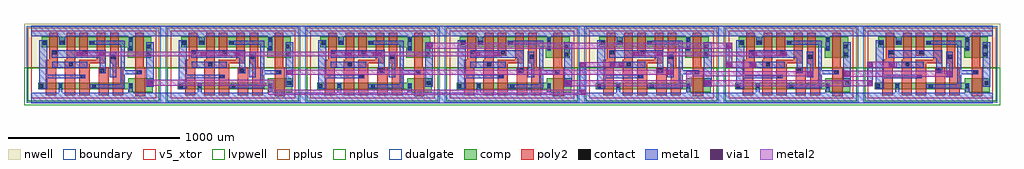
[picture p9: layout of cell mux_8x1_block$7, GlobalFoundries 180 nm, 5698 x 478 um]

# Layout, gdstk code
import gdstk
lib = gdstk.Library(unit=1e-6, precision=1e-07)
def R(c, l, rs):  # rectangles x0, y0, x1, y1
    for r in rs: c.add(gdstk.rectangle(r[:2], r[2:], *l))
def P(c, l, *ps):  # polygons
    for p in ps: c.add(gdstk.Polygon(p, *l))
boundary = (0, 0)
nwell = (21, 0)
comp = (22, 0)
poly2 = (30, 0)
pplus = (31, 0)
nplus = (32, 0)
contact = (33, 0)
metal1 = (34, 0)
via1 = (35, 0)
metal2 = (36, 0)
dualgate = (55, 0)
v5_xtor = (112, 1)
lvpwell = (204, 0)

mux_2bit_block_13 = lib.new_cell('mux_2bit_block$13')
R(mux_2bit_block_13, boundary, [(0,0,728,392)])
R(mux_2bit_block_13, nwell, [(-43,176,771,435)])
P(mux_2bit_block_13, comp, [(562,236),(562,296.5),(60,296.5),(60,358),(700,358),(700,236)],
  [(566,34),(566,52),(40,52),(40,88),(566,88),(566,116),(710,116),(710,34)])
R(mux_2bit_block_13, poly2, [(392,17.5,452,179.5), (280,247.5,330,380)])
P(mux_2bit_block_13, poly2, [(606,12),(606,380),(656,380),(656,179.5),(666,179.5),(666,12)],
  [(476,17.5),(476,203.5),(459.5,203.5),(459.5,380),(509.5,380),(509.5,179.5),(536,179.5),(536,17.5)],
  [(280,17.5),(280,223.5),(382,223.5),(382,380),(432,380),(432,203.5),(340,203.5),(340,17.5)],
  [(196,17.5),(196,223.5),(206,223.5),(206,380),(256,380),(256,17.5)],
  [(84,17.5),(84,223.5),(104,223.5),(104,380),(154,380),(154,179.5),(144,179.5),(144,17.5)])
R(mux_2bit_block_13, pplus, [(-20,176,748,412)])
R(mux_2bit_block_13, nplus, [(-20,-20,748,176)])
R(mux_2bit_block_13, contact, [(569,58.5,591,80.5), (47,59,69,81), (159,59,181,81), (355,59,377,81), (681,76.5,703,98.5), (287,115,309,137), (616,140,638,162), (404,150.5,426,172.5), (220,185,242,207), (466.5,230.5,488.5,252.5), (671,243,693,265), (125,254.5,147,276.5), (301,254.5,323,276.5), (569,282,591,304), (671,290,693,312), (67,311.5,89,333.5), (169,311.5,191,333.5), (345,311.5,367,333.5), (569,329,591,351)])
R(mux_2bit_block_13, metal1, [(670.5,65,715,327), (457,121,495,271), (121,177,327,212)])
P(mux_2bit_block_13, metal1, [(340,57.5),(340,81.5),(522.5,81.5),(522.5,311),(339,311),(339,334),(545.5,334),(545.5,162.5),(644,162.5),(644,139),(545.5,139),(545.5,57.5)],
  [(398.5,144.5),(398.5,236),(119,236),(119,278.5),(434,278.5),(434,144.5)],
  [(46.5,53),(46.5,338),(93,338),(93,137.5),(315.5,137.5),(315.5,114.5),(93,114.5),(93,53)],
  [(0,-30),(0,30),(158.5,30),(158.5,88),(181.5,88),(181.5,30),(568.5,30),(568.5,86.5),(591.5,86.5),(591.5,30),(728,30),(728,-30)],
  [(568.5,276),(568.5,362),(197,362),(197,310.5),(163,310.5),(163,362),(0,362),(0,422),(728,422),(728,362),(591.5,362),(591.5,276)])
R(mux_2bit_block_13, dualgate, [(-28,-28,756,420)])
R(mux_2bit_block_13, v5_xtor, [(0,0,728,392)])
R(mux_2bit_block_13, lvpwell, [(-43,-43,771,176)])
mux_2bit_block_13.add(gdstk.Label('IN1_MUX_NULL', (476,196), layer=34, texttype=10))
mux_2bit_block_13.add(gdstk.Label('IN0_MUX_INV7', (252,196), layer=34, texttype=10))
mux_2bit_block_13.add(gdstk.Label('SEL0', (308,252), layer=34, texttype=10))
mux_2bit_block_13.add(gdstk.Label('VDD', (364,392), layer=34, texttype=10))
mux_2bit_block_13.add(gdstk.Label('VSS', (364,0), layer=34, texttype=10))
mux_2bit_block_13.add(gdstk.Label('OUT_MUX_0', (700,196), layer=34, texttype=10))
mux_2bit_block_13.add(gdstk.Label('& Vendor GLOBALFOUNDRIES', (728,200), layer=63, texttype=63))
mux_2bit_block_13.add(gdstk.Label('& Product GF018hv5v_mcu_sc7', (728,150), layer=63, texttype=63))
mux_2bit_block_13.add(gdstk.Label('& Version 2015q2v1', (728,100), layer=63, texttype=63))
mux_2bit_block_13.add(gdstk.Label('& Metric 1.00', (728,50), layer=63, texttype=63))

mux_2bit_block_1_7 = lib.new_cell('mux_2bit_block$1$7')
R(mux_2bit_block_1_7, boundary, [(0,0,728,392)])
R(mux_2bit_block_1_7, nwell, [(-43,176,771,435)])
P(mux_2bit_block_1_7, comp, [(562,236),(562,296.5),(60,296.5),(60,358),(700,358),(700,236)],
  [(566,34),(566,52),(40,52),(40,88),(566,88),(566,116),(710,116),(710,34)])
R(mux_2bit_block_1_7, poly2, [(392,17.5,452,179.5), (280,247.5,330,380)])
P(mux_2bit_block_1_7, poly2, [(606,12),(606,380),(656,380),(656,179.5),(666,179.5),(666,12)],
  [(476,17.5),(476,203.5),(459.5,203.5),(459.5,380),(509.5,380),(509.5,179.5),(536,179.5),(536,17.5)],
  [(280,17.5),(280,223.5),(382,223.5),(382,380),(432,380),(432,203.5),(340,203.5),(340,17.5)],
  [(196,17.5),(196,223.5),(206,223.5),(206,380),(256,380),(256,17.5)],
  [(84,17.5),(84,223.5),(104,223.5),(104,380),(154,380),(154,179.5),(144,179.5),(144,17.5)])
R(mux_2bit_block_1_7, pplus, [(-20,176,748,412)])
R(mux_2bit_block_1_7, nplus, [(-20,-20,748,176)])
R(mux_2bit_block_1_7, contact, [(569,58.5,591,80.5), (47,59,69,81), (159,59,181,81), (355,59,377,81), (681,76.5,703,98.5), (287,115,309,137), (616,140,638,162), (404,150.5,426,172.5), (220,185,242,207), (466.5,230.5,488.5,252.5), (671,243,693,265), (125,254.5,147,276.5), (301,254.5,323,276.5), (569,282,591,304), (671,290,693,312), (67,311.5,89,333.5), (169,311.5,191,333.5), (345,311.5,367,333.5), (569,329,591,351)])
R(mux_2bit_block_1_7, metal1, [(670.5,65,715,327), (457,121,495,271), (121,177,327,212)])
P(mux_2bit_block_1_7, metal1, [(340,57.5),(340,81.5),(522.5,81.5),(522.5,311),(339,311),(339,334),(545.5,334),(545.5,162.5),(644,162.5),(644,139),(545.5,139),(545.5,57.5)],
  [(398.5,144.5),(398.5,236),(119,236),(119,278.5),(434,278.5),(434,144.5)],
  [(46.5,53),(46.5,338),(93,338),(93,137.5),(315.5,137.5),(315.5,114.5),(93,114.5),(93,53)],
  [(0,-30),(0,30),(158.5,30),(158.5,88),(181.5,88),(181.5,30),(568.5,30),(568.5,86.5),(591.5,86.5),(591.5,30),(728,30),(728,-30)],
  [(568.5,276),(568.5,362),(197,362),(197,310.5),(163,310.5),(163,362),(0,362),(0,422),(728,422),(728,362),(591.5,362),(591.5,276)])
R(mux_2bit_block_1_7, dualgate, [(-28,-28,756,420)])
R(mux_2bit_block_1_7, v5_xtor, [(0,0,728,392)])
R(mux_2bit_block_1_7, lvpwell, [(-43,-43,771,176)])
mux_2bit_block_1_7.add(gdstk.Label('IN3_MUX_NULL', (476,196), layer=34, texttype=10))
mux_2bit_block_1_7.add(gdstk.Label('IN2_MUX_OR7', (252,196), layer=34, texttype=10))
mux_2bit_block_1_7.add(gdstk.Label('SEL0', (308,252), layer=34, texttype=10))
mux_2bit_block_1_7.add(gdstk.Label('VDD', (364,392), layer=34, texttype=10))
mux_2bit_block_1_7.add(gdstk.Label('VSS', (364,0), layer=34, texttype=10))
mux_2bit_block_1_7.add(gdstk.Label('OUT_MUX_1', (700,196), layer=34, texttype=10))
mux_2bit_block_1_7.add(gdstk.Label('& Vendor GLOBALFOUNDRIES', (728,200), layer=63, texttype=63))
mux_2bit_block_1_7.add(gdstk.Label('& Product GF018hv5v_mcu_sc7', (728,150), layer=63, texttype=63))
mux_2bit_block_1_7.add(gdstk.Label('& Version 2015q2v1', (728,100), layer=63, texttype=63))
mux_2bit_block_1_7.add(gdstk.Label('& Metric 1.00', (728,50), layer=63, texttype=63))

mux_2bit_block_2_7 = lib.new_cell('mux_2bit_block$2$7')
R(mux_2bit_block_2_7, boundary, [(0,0,728,392)])
R(mux_2bit_block_2_7, nwell, [(-43,176,771,435)])
P(mux_2bit_block_2_7, comp, [(562,236),(562,296.5),(60,296.5),(60,358),(700,358),(700,236)],
  [(566,34),(566,52),(40,52),(40,88),(566,88),(566,116),(710,116),(710,34)])
R(mux_2bit_block_2_7, poly2, [(392,17.5,452,179.5), (280,247.5,330,380)])
P(mux_2bit_block_2_7, poly2, [(606,12),(606,380),(656,380),(656,179.5),(666,179.5),(666,12)],
  [(476,17.5),(476,203.5),(459.5,203.5),(459.5,380),(509.5,380),(509.5,179.5),(536,179.5),(536,17.5)],
  [(280,17.5),(280,223.5),(382,223.5),(382,380),(432,380),(432,203.5),(340,203.5),(340,17.5)],
  [(196,17.5),(196,223.5),(206,223.5),(206,380),(256,380),(256,17.5)],
  [(84,17.5),(84,223.5),(104,223.5),(104,380),(154,380),(154,179.5),(144,179.5),(144,17.5)])
R(mux_2bit_block_2_7, pplus, [(-20,176,748,412)])
R(mux_2bit_block_2_7, nplus, [(-20,-20,748,176)])
R(mux_2bit_block_2_7, contact, [(569,58.5,591,80.5), (47,59,69,81), (159,59,181,81), (355,59,377,81), (681,76.5,703,98.5), (287,115,309,137), (616,140,638,162), (404,150.5,426,172.5), (220,185,242,207), (466.5,230.5,488.5,252.5), (671,243,693,265), (125,254.5,147,276.5), (301,254.5,323,276.5), (569,282,591,304), (671,290,693,312), (67,311.5,89,333.5), (169,311.5,191,333.5), (345,311.5,367,333.5), (569,329,591,351)])
R(mux_2bit_block_2_7, metal1, [(670.5,65,715,327), (457,121,495,271), (121,177,327,212)])
P(mux_2bit_block_2_7, metal1, [(340,57.5),(340,81.5),(522.5,81.5),(522.5,311),(339,311),(339,334),(545.5,334),(545.5,162.5),(644,162.5),(644,139),(545.5,139),(545.5,57.5)],
  [(398.5,144.5),(398.5,236),(119,236),(119,278.5),(434,278.5),(434,144.5)],
  [(46.5,53),(46.5,338),(93,338),(93,137.5),(315.5,137.5),(315.5,114.5),(93,114.5),(93,53)],
  [(0,-30),(0,30),(158.5,30),(158.5,88),(181.5,88),(181.5,30),(568.5,30),(568.5,86.5),(591.5,86.5),(591.5,30),(728,30),(728,-30)],
  [(568.5,276),(568.5,362),(197,362),(197,310.5),(163,310.5),(163,362),(0,362),(0,422),(728,422),(728,362),(591.5,362),(591.5,276)])
R(mux_2bit_block_2_7, dualgate, [(-28,-28,756,420)])
R(mux_2bit_block_2_7, v5_xtor, [(0,0,728,392)])
R(mux_2bit_block_2_7, lvpwell, [(-43,-43,771,176)])
mux_2bit_block_2_7.add(gdstk.Label('IN5_MUX_NULL', (476,196), layer=34, texttype=10))
mux_2bit_block_2_7.add(gdstk.Label('IN4_MUX_AND7', (252,196), layer=34, texttype=10))
mux_2bit_block_2_7.add(gdstk.Label('SEL0', (308,252), layer=34, texttype=10))
mux_2bit_block_2_7.add(gdstk.Label('VDD', (364,392), layer=34, texttype=10))
mux_2bit_block_2_7.add(gdstk.Label('VSS', (364,0), layer=34, texttype=10))
mux_2bit_block_2_7.add(gdstk.Label('OUT_MUX_2', (700,196), layer=34, texttype=10))
mux_2bit_block_2_7.add(gdstk.Label('& Vendor GLOBALFOUNDRIES', (728,200), layer=63, texttype=63))
mux_2bit_block_2_7.add(gdstk.Label('& Product GF018hv5v_mcu_sc7', (728,150), layer=63, texttype=63))
mux_2bit_block_2_7.add(gdstk.Label('& Version 2015q2v1', (728,100), layer=63, texttype=63))
mux_2bit_block_2_7.add(gdstk.Label('& Metric 1.00', (728,50), layer=63, texttype=63))

mux_2bit_block_3_7 = lib.new_cell('mux_2bit_block$3$7')
R(mux_2bit_block_3_7, boundary, [(0,0,728,392)])
R(mux_2bit_block_3_7, nwell, [(-43,176,771,435)])
P(mux_2bit_block_3_7, comp, [(562,236),(562,296.5),(60,296.5),(60,358),(700,358),(700,236)],
  [(566,34),(566,52),(40,52),(40,88),(566,88),(566,116),(710,116),(710,34)])
R(mux_2bit_block_3_7, poly2, [(392,17.5,452,179.5), (280,247.5,330,380)])
P(mux_2bit_block_3_7, poly2, [(606,12),(606,380),(656,380),(656,179.5),(666,179.5),(666,12)],
  [(476,17.5),(476,203.5),(459.5,203.5),(459.5,380),(509.5,380),(509.5,179.5),(536,179.5),(536,17.5)],
  [(280,17.5),(280,223.5),(382,223.5),(382,380),(432,380),(432,203.5),(340,203.5),(340,17.5)],
  [(196,17.5),(196,223.5),(206,223.5),(206,380),(256,380),(256,17.5)],
  [(84,17.5),(84,223.5),(104,223.5),(104,380),(154,380),(154,179.5),(144,179.5),(144,17.5)])
R(mux_2bit_block_3_7, pplus, [(-20,176,748,412)])
R(mux_2bit_block_3_7, nplus, [(-20,-20,748,176)])
R(mux_2bit_block_3_7, contact, [(569,58.5,591,80.5), (47,59,69,81), (159,59,181,81), (355,59,377,81), (681,76.5,703,98.5), (287,115,309,137), (616,140,638,162), (404,150.5,426,172.5), (220,185,242,207), (466.5,230.5,488.5,252.5), (671,243,693,265), (125,254.5,147,276.5), (301,254.5,323,276.5), (569,282,591,304), (671,290,693,312), (67,311.5,89,333.5), (169,311.5,191,333.5), (345,311.5,367,333.5), (569,329,591,351)])
R(mux_2bit_block_3_7, metal1, [(670.5,65,715,327), (457,121,495,271), (121,177,327,212)])
P(mux_2bit_block_3_7, metal1, [(340,57.5),(340,81.5),(522.5,81.5),(522.5,311),(339,311),(339,334),(545.5,334),(545.5,162.5),(644,162.5),(644,139),(545.5,139),(545.5,57.5)],
  [(398.5,144.5),(398.5,236),(119,236),(119,278.5),(434,278.5),(434,144.5)],
  [(46.5,53),(46.5,338),(93,338),(93,137.5),(315.5,137.5),(315.5,114.5),(93,114.5),(93,53)],
  [(0,-30),(0,30),(158.5,30),(158.5,88),(181.5,88),(181.5,30),(568.5,30),(568.5,86.5),(591.5,86.5),(591.5,30),(728,30),(728,-30)],
  [(568.5,276),(568.5,362),(197,362),(197,310.5),(163,310.5),(163,362),(0,362),(0,422),(728,422),(728,362),(591.5,362),(591.5,276)])
R(mux_2bit_block_3_7, dualgate, [(-28,-28,756,420)])
R(mux_2bit_block_3_7, v5_xtor, [(0,0,728,392)])
R(mux_2bit_block_3_7, lvpwell, [(-43,-43,771,176)])
mux_2bit_block_3_7.add(gdstk.Label('IN6_MUX_ADD7', (252,196), layer=34, texttype=10))
mux_2bit_block_3_7.add(gdstk.Label('IN7_MUX_SUB7', (476,196), layer=34, texttype=10))
mux_2bit_block_3_7.add(gdstk.Label('SEL0', (308,252), layer=34, texttype=10))
mux_2bit_block_3_7.add(gdstk.Label('VDD', (364,392), layer=34, texttype=10))
mux_2bit_block_3_7.add(gdstk.Label('VSS', (364,0), layer=34, texttype=10))
mux_2bit_block_3_7.add(gdstk.Label('OUT_MUX_3', (700,196), layer=34, texttype=10))
mux_2bit_block_3_7.add(gdstk.Label('& Vendor GLOBALFOUNDRIES', (728,200), layer=63, texttype=63))
mux_2bit_block_3_7.add(gdstk.Label('& Product GF018hv5v_mcu_sc7', (728,150), layer=63, texttype=63))
mux_2bit_block_3_7.add(gdstk.Label('& Version 2015q2v1', (728,100), layer=63, texttype=63))
mux_2bit_block_3_7.add(gdstk.Label('& Metric 1.00', (728,50), layer=63, texttype=63))

mux_2bit_block_4_7 = lib.new_cell('mux_2bit_block$4$7')
R(mux_2bit_block_4_7, boundary, [(0,0,728,392)])
R(mux_2bit_block_4_7, nwell, [(-43,176,771,435)])
P(mux_2bit_block_4_7, comp, [(562,236),(562,296.5),(60,296.5),(60,358),(700,358),(700,236)],
  [(566,34),(566,52),(40,52),(40,88),(566,88),(566,116),(710,116),(710,34)])
R(mux_2bit_block_4_7, poly2, [(392,17.5,452,179.5), (280,247.5,330,380)])
P(mux_2bit_block_4_7, poly2, [(606,12),(606,380),(656,380),(656,179.5),(666,179.5),(666,12)],
  [(476,17.5),(476,203.5),(459.5,203.5),(459.5,380),(509.5,380),(509.5,179.5),(536,179.5),(536,17.5)],
  [(280,17.5),(280,223.5),(382,223.5),(382,380),(432,380),(432,203.5),(340,203.5),(340,17.5)],
  [(196,17.5),(196,223.5),(206,223.5),(206,380),(256,380),(256,17.5)],
  [(84,17.5),(84,223.5),(104,223.5),(104,380),(154,380),(154,179.5),(144,179.5),(144,17.5)])
R(mux_2bit_block_4_7, pplus, [(-20,176,748,412)])
R(mux_2bit_block_4_7, nplus, [(-20,-20,748,176)])
R(mux_2bit_block_4_7, contact, [(569,58.5,591,80.5), (47,59,69,81), (159,59,181,81), (355,59,377,81), (681,76.5,703,98.5), (287,115,309,137), (616,140,638,162), (404,150.5,426,172.5), (220,185,242,207), (466.5,230.5,488.5,252.5), (671,243,693,265), (125,254.5,147,276.5), (301,254.5,323,276.5), (569,282,591,304), (671,290,693,312), (67,311.5,89,333.5), (169,311.5,191,333.5), (345,311.5,367,333.5), (569,329,591,351)])
R(mux_2bit_block_4_7, metal1, [(670.5,65,715,327), (457,121,495,271), (121,177,327,212)])
P(mux_2bit_block_4_7, metal1, [(340,57.5),(340,81.5),(522.5,81.5),(522.5,311),(339,311),(339,334),(545.5,334),(545.5,162.5),(644,162.5),(644,139),(545.5,139),(545.5,57.5)],
  [(398.5,144.5),(398.5,236),(119,236),(119,278.5),(434,278.5),(434,144.5)],
  [(46.5,53),(46.5,338),(93,338),(93,137.5),(315.5,137.5),(315.5,114.5),(93,114.5),(93,53)],
  [(0,-30),(0,30),(158.5,30),(158.5,88),(181.5,88),(181.5,30),(568.5,30),(568.5,86.5),(591.5,86.5),(591.5,30),(728,30),(728,-30)],
  [(568.5,276),(568.5,362),(197,362),(197,310.5),(163,310.5),(163,362),(0,362),(0,422),(728,422),(728,362),(591.5,362),(591.5,276)])
R(mux_2bit_block_4_7, dualgate, [(-28,-28,756,420)])
R(mux_2bit_block_4_7, v5_xtor, [(0,0,728,392)])
R(mux_2bit_block_4_7, lvpwell, [(-43,-43,771,176)])
mux_2bit_block_4_7.add(gdstk.Label('SEL1', (308,252), layer=34, texttype=10))
mux_2bit_block_4_7.add(gdstk.Label('VDD', (364,392), layer=34, texttype=10))
mux_2bit_block_4_7.add(gdstk.Label('VSS', (364,0), layer=34, texttype=10))
mux_2bit_block_4_7.add(gdstk.Label('OUT_MUX_4', (700,196), layer=34, texttype=10))
mux_2bit_block_4_7.add(gdstk.Label('IN8_OUT_MUX0', (252,196), layer=34, texttype=10))
mux_2bit_block_4_7.add(gdstk.Label('IN9_OUT_MUX1', (476,196), layer=34, texttype=10))
mux_2bit_block_4_7.add(gdstk.Label('& Vendor GLOBALFOUNDRIES', (728,200), layer=63, texttype=63))
mux_2bit_block_4_7.add(gdstk.Label('& Product GF018hv5v_mcu_sc7', (728,150), layer=63, texttype=63))
mux_2bit_block_4_7.add(gdstk.Label('& Version 2015q2v1', (728,100), layer=63, texttype=63))
mux_2bit_block_4_7.add(gdstk.Label('& Metric 1.00', (728,50), layer=63, texttype=63))

mux_2bit_block_5_7 = lib.new_cell('mux_2bit_block$5$7')
R(mux_2bit_block_5_7, boundary, [(0,0,728,392)])
R(mux_2bit_block_5_7, nwell, [(-43,176,771,435)])
P(mux_2bit_block_5_7, comp, [(562,236),(562,296.5),(60,296.5),(60,358),(700,358),(700,236)],
  [(566,34),(566,52),(40,52),(40,88),(566,88),(566,116),(710,116),(710,34)])
R(mux_2bit_block_5_7, poly2, [(392,17.5,452,179.5), (280,247.5,330,380)])
P(mux_2bit_block_5_7, poly2, [(606,12),(606,380),(656,380),(656,179.5),(666,179.5),(666,12)],
  [(476,17.5),(476,203.5),(459.5,203.5),(459.5,380),(509.5,380),(509.5,179.5),(536,179.5),(536,17.5)],
  [(280,17.5),(280,223.5),(382,223.5),(382,380),(432,380),(432,203.5),(340,203.5),(340,17.5)],
  [(196,17.5),(196,223.5),(206,223.5),(206,380),(256,380),(256,17.5)],
  [(84,17.5),(84,223.5),(104,223.5),(104,380),(154,380),(154,179.5),(144,179.5),(144,17.5)])
R(mux_2bit_block_5_7, pplus, [(-20,176,748,412)])
R(mux_2bit_block_5_7, nplus, [(-20,-20,748,176)])
R(mux_2bit_block_5_7, contact, [(569,58.5,591,80.5), (47,59,69,81), (159,59,181,81), (355,59,377,81), (681,76.5,703,98.5), (287,115,309,137), (616,140,638,162), (404,150.5,426,172.5), (220,185,242,207), (466.5,230.5,488.5,252.5), (671,243,693,265), (125,254.5,147,276.5), (301,254.5,323,276.5), (569,282,591,304), (671,290,693,312), (67,311.5,89,333.5), (169,311.5,191,333.5), (345,311.5,367,333.5), (569,329,591,351)])
R(mux_2bit_block_5_7, metal1, [(670.5,65,715,327), (457,121,495,271), (121,177,327,212)])
P(mux_2bit_block_5_7, metal1, [(340,57.5),(340,81.5),(522.5,81.5),(522.5,311),(339,311),(339,334),(545.5,334),(545.5,162.5),(644,162.5),(644,139),(545.5,139),(545.5,57.5)],
  [(398.5,144.5),(398.5,236),(119,236),(119,278.5),(434,278.5),(434,144.5)],
  [(46.5,53),(46.5,338),(93,338),(93,137.5),(315.5,137.5),(315.5,114.5),(93,114.5),(93,53)],
  [(0,-30),(0,30),(158.5,30),(158.5,88),(181.5,88),(181.5,30),(568.5,30),(568.5,86.5),(591.5,86.5),(591.5,30),(728,30),(728,-30)],
  [(568.5,276),(568.5,362),(197,362),(197,310.5),(163,310.5),(163,362),(0,362),(0,422),(728,422),(728,362),(591.5,362),(591.5,276)])
R(mux_2bit_block_5_7, dualgate, [(-28,-28,756,420)])
R(mux_2bit_block_5_7, v5_xtor, [(0,0,728,392)])
R(mux_2bit_block_5_7, lvpwell, [(-43,-43,771,176)])
mux_2bit_block_5_7.add(gdstk.Label('SEL1', (308,252), layer=34, texttype=10))
mux_2bit_block_5_7.add(gdstk.Label('VDD', (364,392), layer=34, texttype=10))
mux_2bit_block_5_7.add(gdstk.Label('VSS', (364,0), layer=34, texttype=10))
mux_2bit_block_5_7.add(gdstk.Label('OUT_MUX_5', (700,196), layer=34, texttype=10))
mux_2bit_block_5_7.add(gdstk.Label('IN10_OUT_MUX2', (252,196), layer=34, texttype=10))
mux_2bit_block_5_7.add(gdstk.Label('IN11_OUT_MUX3', (476,196), layer=34, texttype=10))
mux_2bit_block_5_7.add(gdstk.Label('& Vendor GLOBALFOUNDRIES', (728,200), layer=63, texttype=63))
mux_2bit_block_5_7.add(gdstk.Label('& Product GF018hv5v_mcu_sc7', (728,150), layer=63, texttype=63))
mux_2bit_block_5_7.add(gdstk.Label('& Version 2015q2v1', (728,100), layer=63, texttype=63))
mux_2bit_block_5_7.add(gdstk.Label('& Metric 1.00', (728,50), layer=63, texttype=63))

mux_2bit_block_6_7 = lib.new_cell('mux_2bit_block$6$7')
R(mux_2bit_block_6_7, boundary, [(0,0,728,392)])
R(mux_2bit_block_6_7, nwell, [(-43,176,771,435)])
P(mux_2bit_block_6_7, comp, [(562,236),(562,296.5),(60,296.5),(60,358),(700,358),(700,236)],
  [(566,34),(566,52),(40,52),(40,88),(566,88),(566,116),(710,116),(710,34)])
R(mux_2bit_block_6_7, poly2, [(392,17.5,452,179.5), (280,247.5,330,380)])
P(mux_2bit_block_6_7, poly2, [(606,12),(606,380),(656,380),(656,179.5),(666,179.5),(666,12)],
  [(476,17.5),(476,203.5),(459.5,203.5),(459.5,380),(509.5,380),(509.5,179.5),(536,179.5),(536,17.5)],
  [(280,17.5),(280,223.5),(382,223.5),(382,380),(432,380),(432,203.5),(340,203.5),(340,17.5)],
  [(196,17.5),(196,223.5),(206,223.5),(206,380),(256,380),(256,17.5)],
  [(84,17.5),(84,223.5),(104,223.5),(104,380),(154,380),(154,179.5),(144,179.5),(144,17.5)])
R(mux_2bit_block_6_7, pplus, [(-20,176,748,412)])
R(mux_2bit_block_6_7, nplus, [(-20,-20,748,176)])
R(mux_2bit_block_6_7, contact, [(569,58.5,591,80.5), (47,59,69,81), (159,59,181,81), (355,59,377,81), (681,76.5,703,98.5), (287,115,309,137), (616,140,638,162), (404,150.5,426,172.5), (220,185,242,207), (466.5,230.5,488.5,252.5), (671,243,693,265), (125,254.5,147,276.5), (301,254.5,323,276.5), (569,282,591,304), (671,290,693,312), (67,311.5,89,333.5), (169,311.5,191,333.5), (345,311.5,367,333.5), (569,329,591,351)])
R(mux_2bit_block_6_7, metal1, [(670.5,65,715,327), (457,121,495,271), (121,177,327,212)])
P(mux_2bit_block_6_7, metal1, [(568.1,275.9),(568.1,361.9),(196.6,361.9),(196.6,310.4),(162.6,310.4),(162.6,361.9),(-0.4,361.9),(-0.4,421.9),(727.6,421.9),(727.6,361.9),(591.1,361.9),(591.1,275.9)],
  [(340,57.5),(340,81.5),(522.5,81.5),(522.5,311),(339,311),(339,334),(545.5,334),(545.5,162.5),(644,162.5),(644,139),(545.5,139),(545.5,57.5)],
  [(398.5,144.5),(398.5,236),(119,236),(119,278.5),(434,278.5),(434,144.5)],
  [(46.5,53),(46.5,338),(93,338),(93,137.5),(315.5,137.5),(315.5,114.5),(93,114.5),(93,53)],
  [(0,-30),(0,30),(158.5,30),(158.5,88),(181.5,88),(181.5,30),(568.5,30),(568.5,86.5),(591.5,86.5),(591.5,30),(728,30),(728,-30)])
R(mux_2bit_block_6_7, dualgate, [(-28,-28,756,420)])
R(mux_2bit_block_6_7, v5_xtor, [(0,0,728,392)])
R(mux_2bit_block_6_7, lvpwell, [(-43,-43,771,176)])
mux_2bit_block_6_7.add(gdstk.Label('SEL2', (308,252), layer=34, texttype=10))
mux_2bit_block_6_7.add(gdstk.Label('VDD', (364,392), layer=34, texttype=10))
mux_2bit_block_6_7.add(gdstk.Label('VSS', (364,0), layer=34, texttype=10))
mux_2bit_block_6_7.add(gdstk.Label('OUT_MUX6', (700,196), layer=34, texttype=10))
mux_2bit_block_6_7.add(gdstk.Label('IN12_OUT_MUX4', (252,196), layer=34, texttype=10))
mux_2bit_block_6_7.add(gdstk.Label('IN13_OUT_MUX5', (476,196), layer=34, texttype=10))
mux_2bit_block_6_7.add(gdstk.Label('& Vendor GLOBALFOUNDRIES', (728,200), layer=63, texttype=63))
mux_2bit_block_6_7.add(gdstk.Label('& Product GF018hv5v_mcu_sc7', (728,150), layer=63, texttype=63))
mux_2bit_block_6_7.add(gdstk.Label('& Version 2015q2v1', (728,100), layer=63, texttype=63))
mux_2bit_block_6_7.add(gdstk.Label('& Metric 1.00', (728,50), layer=63, texttype=63))

mux_8x1_block_7 = lib.new_cell('mux_8x1_block$7')
R(mux_8x1_block_7, metal1, [(-27.3,-87.1,5584.2,-27.1), (3174.5,-37.2,3211.7,151.5), (4852,12.1,4885.4,154.4), (4026.3,119.9,4063.4,265.9), (-27.1,305,5584.4,364.9)])
R(mux_8x1_block_7, via1, [(3179.3,-34.2,3208.7,-12.4), (4855.3,14.4,4882.8,43.8), (3091.6,15.5,3127.4,44.3), (3907.7,16,3938.4,43.3), (650.1,21.7,681.4,42.7), (5317.8,70.1,5347,98.9), (4723.1,70.9,4753.5,98), (4503.6,72.2,4533.3,97.4), (3689.2,82,3717.1,105.2), (1466.8,82.9,1498.3,104.9), (4169.5,122.2,4202,149.3), (4982.1,122.4,5013.6,152.2), (4856.5,122.5,4882.2,150.5), (4029.8,124.2,4060.6,149.6), (3179,126.6,3207.6,148.4), (3402.1,127.5,3424.7,148.3), (3354.7,127.7,3375.5,148.7), (960.6,188.8,989.8,210.1), (240.4,188.9,273.2,211), (240.4,188.9,273.2,211), (1801.2,189.3,1840.7,208), (3489.4,189.4,3522.2,211.5), (4342.4,189.5,4380,210), (1160.4,189.8,1192.8,210.5), (1967.3,189.8,2016.7,206.6), (4177.5,189.9,4206.7,209.3), (2566.3,190.9,2590.2,210.2), (2670.8,190.9,2704,209.1), (365.7,191.9,398.3,209), (365.7,191.9,398.3,209), (3623.5,192.9,3656.1,210), (4031.4,234.8,4059.7,261.6), (2278.4,235.7,2312,261.6)])
R(mux_8x1_block_7, metal2, [(3904,12.1,4885.4,47), (4718.5,67.1,5349.8,102), (1463,79.7,3719.7,107.9), (4852,119.6,5025.5,154.4), (4026.3,120.2,4205.6,154.2), (3174.5,123.1,3435.2,151.5), (235.5,186.3,2710.5,214.5), (3482.6,186.3,4384.2,214.5), (2274,231.3,4063.4,266.2)])
P(mux_8x1_block_7, metal2, [(3797.4,12.5),(3797.4,12.6),(3087.6,12.6),(3087.6,47.5),(3797.4,47.5),(3797.4,100.2),(4535.9,100.2),(4535.9,69.8),(3828.9,69.8),(3828.9,12.5)],
  [(1357.3,-37.2),(1357.3,15.9),(645.3,15.9),(645.3,50.8),(1357.3,50.8),(1357.3,50.9),(1388.8,50.9),(1388.8,-8.8),(3211.7,-8.8),(3211.7,-37.2)])
mux_8x1_block_7.add(gdstk.Reference(mux_2bit_block_13, (-27.1,-57.1)))
mux_8x1_block_7.add(gdstk.Reference(mux_2bit_block_1_7, (786.9,-57.1)))
mux_8x1_block_7.add(gdstk.Reference(mux_2bit_block_2_7, (1600.9,-57.1)))
mux_8x1_block_7.add(gdstk.Reference(mux_2bit_block_3_7, (2414.9,-57.1)))
mux_8x1_block_7.add(gdstk.Reference(mux_2bit_block_4_7, (3228.9,-57.1)))
mux_8x1_block_7.add(gdstk.Reference(mux_2bit_block_5_7, (4042.9,-57.1)))
mux_8x1_block_7.add(gdstk.Reference(mux_2bit_block_6_7, (4856.9,-57.1)))

lib.write_gds('mux_8x1_block_7.gds')
